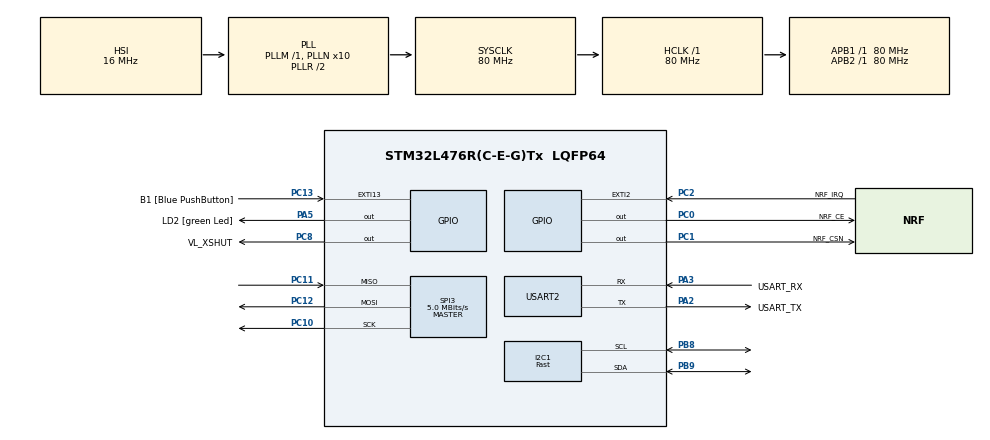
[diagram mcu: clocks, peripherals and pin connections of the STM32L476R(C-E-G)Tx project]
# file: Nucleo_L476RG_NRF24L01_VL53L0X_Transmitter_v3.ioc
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I2C1.I2C_Speed_Mode=I2C_Fast
I2C1.Timing=0x00702991
Mcu.Family=STM32L4
Mcu.Name=STM32L476R(C-E-G)Tx
Mcu.Package=LQFP64
NVIC.PriorityGroup=NVIC_PRIORITYGROUP_4
PA13\ (JTMS-SWDIO).GPIO_Label=TMS
PA13\ (JTMS-SWDIO).Mode=Serial_Wire
PA13\ (JTMS-SWDIO).Signal=SYS_JTMS-SWDIO
PA14\ (JTCK-SWCLK).GPIO_Label=TCK
PA14\ (JTCK-SWCLK).Mode=Serial_Wire
PA14\ (JTCK-SWCLK).Signal=SYS_JTCK-SWCLK
PA2.GPIO_Label=USART_TX
PA2.GPIO_Mode=GPIO_MODE_AF_PP
PA2.GPIO_PuPd=GPIO_NOPULL
PA2.GPIO_Speed=GPIO_SPEED_FREQ_VERY_HIGH
PA2.Mode=Asynchronous
PA2.Signal=USART2_TX
PA3.GPIO_Label=USART_RX
PA3.GPIO_Mode=GPIO_MODE_AF_PP
PA3.GPIO_PuPd=GPIO_NOPULL
PA3.GPIO_Speed=GPIO_SPEED_FREQ_VERY_HIGH
PA3.Mode=Asynchronous
PA3.Signal=USART2_RX
PA5.GPIO_Label=LD2 [green Led]
PA5.GPIO_ModeDefaultOutputPP=GPIO_MODE_OUTPUT_PP
PA5.GPIO_PuPd=GPIO_NOPULL
PA5.GPIO_Speed=GPIO_SPEED_FREQ_LOW
PA5.Signal=GPIO_Output
PB3\ (JTDO-TRACESWO).GPIO_Label=SWO
PB3\ (JTDO-TRACESWO).Signal=SYS_JTDO-SWO
PB8.Mode=I2C
PB8.Signal=I2C1_SCL
PB9.Mode=I2C
PB9.Signal=I2C1_SDA
PC0.GPIO_Label=NRF_CE
PC0.Signal=GPIO_Output
PC1.GPIO_Label=NRF_CSN
PC1.Signal=GPIO_Output
PC10.Mode=Full_Duplex_Master
PC10.Signal=SPI3_SCK
PC11.Mode=Full_Duplex_Master
PC11.Signal=SPI3_MISO
PC12.Mode=Full_Duplex_Master
PC12.Signal=SPI3_MOSI
PC13.GPIO_Label=B1 [Blue PushButton]
PC13.GPIO_ModeDefaultEXTI=GPIO_MODE_IT_FALLING
PC13.GPIO_PuPd=GPIO_NOPULL
PC13.Signal=GPXTI13
PC14-OSC32_IN\ (PC14).Mode=LSE-External-Oscillator
PC14-OSC32_IN\ (PC14).Signal=RCC_OSC32_IN
PC15-OSC32_OUT\ (PC15).Mode=LSE-External-Oscillator
PC15-OSC32_OUT\ (PC15).Signal=RCC_OSC32_OUT
PC2.GPIO_Label=NRF_IRQ
PC2.Signal=GPXTI2
PC8.GPIO_Label=VL_XSHUT
PC8.Signal=GPIO_Output
PH0-OSC_IN\ (PH0).Signal=RCC_OSC_IN
PH1-OSC_OUT\ (PH1).Signal=RCC_OSC_OUT
ProjectManager.HeapSize=0x200
ProjectManager.StackSize=0x400
ProjectManager.TargetToolchain=STM32CubeIDE
RCC.ADCFreq_Value=64000000
RCC.AHBFreq_Value=80000000
RCC.APB1Freq_Value=80000000
RCC.APB1TimFreq_Value=80000000
RCC.APB2Freq_Value=80000000
RCC.APB2TimFreq_Value=80000000
RCC.CortexFreq_Value=80000000
RCC.HCLKFreq_Value=80000000
RCC.HSE_VALUE=8000000
RCC.HSI_VALUE=16000000
RCC.MSI_VALUE=4000000
RCC.PLLN=10
RCC.PLLSourceVirtual=RCC_PLLSOURCE_HSI
RCC.PREFETCH_ENABLE=1
RCC.SYSCLKFreq_VALUE=80000000
RCC.SYSCLKSource=RCC_SYSCLKSOURCE_PLLCLK
RCC.USBFreq_Value=64000000
RCC.VCOOutputFreq_Value=160000000
SPI3.BaudRatePrescaler=SPI_BAUDRATEPRESCALER_16
SPI3.CalculateBaudRate=5.0 MBits/s
SPI3.DataSize=SPI_DATASIZE_8BIT
SPI3.Direction=SPI_DIRECTION_2LINES
SPI3.Mode=SPI_MODE_MASTER
SPI3.VirtualType=VM_MASTER
USART2.VirtualMode-Asynchronous=VM_ASYNC
board=NUCLEO-L476RG

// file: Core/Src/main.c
/* USER CODE BEGIN Header */
/**
  ******************************************************************************
  * @file           : main.c
  * @brief          : Main program body
  ******************************************************************************
  * @attention
  *
  * Copyright (c) 2022 STMicroelectronics.
  * All rights reserved.
  *
  * This software is licensed under terms that can be found in the LICENSE file
  * in the root directory of this software component.
  * If no LICENSE file comes with this software, it is provided AS-IS.
  *
  ******************************************************************************
  */
/* USER CODE END Header */
#include "main.h"

/* USER CODE BEGIN Includes */
#include "vl53l0x_class.h"
/* USER CODE END Includes */

I2C_HandleTypeDef hi2c1;

SPI_HandleTypeDef hspi3;

UART_HandleTypeDef huart2;

/* USER CODE BEGIN PV */
VL53L0X_Dev_t sensor1;
HAL_StatusTypeDef result;

// Uncomment ONE of these three lines to get
//#define LONG_RANGE
//#define HIGH_SPEED
#define HIGH_ACCURACY

/* USER CODE END PV */

void SystemClock_Config(void);
static void MX_GPIO_Init(void);
static void MX_SPI3_Init(void);
static void MX_USART2_UART_Init(void);
static void MX_I2C1_Init(void);
/* USER CODE BEGIN PFP */

void runRadio(void);
void VL53L0X_Start(VL53L0X_Dev_t *lidar);

/* USER CODE END PFP */

/* USER CODE BEGIN 0 */

/* round robin lowband fir filter */
#define NBSAMPLES 16

uint16_t rr_fir_filter0(uint16_t newsample) {
	static uint16_t samples[NBSAMPLES];
	static uint16_t numsample=0;
	static uint16_t slidingsum=0;
	slidingsum-= samples[numsample];
	samples[numsample]= newsample;
	slidingsum+= samples[numsample];
	numsample++;
	numsample%=NBSAMPLES;
	return slidingsum/NBSAMPLES;
}

uint16_t rr_fir_filter(uint8_t ch, uint16_t newsample) {
	if (ch>2) return 0;
	static uint16_t samples[2][NBSAMPLES]={0};
	static uint16_t numsample=0;
	static uint16_t slidingsum[2]={0};
	slidingsum[ch] -= samples[ch][numsample];
	samples[ch][numsample]= newsample;
	slidingsum[ch]+= samples[ch][numsample];
	numsample++;
	numsample%=NBSAMPLES;
	return slidingsum[ch]/NBSAMPLES;
}

// UART2 is connected to st-link
int _write(int file, char *ptr, int len)
{
	HAL_UART_Transmit(&huart2,(uint8_t *)ptr,len,10);
	return len;
}
/* USER CODE END 0 */

int main(void)
{

  /* MCU Configuration--------------------------------------------------------*/

  /* Reset of all peripherals, Initializes the Flash interface and the Systick. */
  HAL_Init();

  /* Configure the system clock */
  SystemClock_Config();

  /* Initialize all configured peripherals */
  MX_GPIO_Init();
  MX_SPI3_Init();
  MX_USART2_UART_Init();
  MX_I2C1_Init();
  /* USER CODE BEGIN 2 */

  printf("Start ...\r\n");
  VL53L0X_Start(&sensor1);

  if (HAL_SPIEx_FlushRxFifo(&hspi3) != HAL_OK){
	  Error_Handler();
  }
  runRadio();

  /* USER CODE END 2 */

  /* Infinite loop */
  while (1)
  {

  }
}

void SystemClock_Config(void)
{
  RCC_OscInitTypeDef RCC_OscInitStruct = {0};
  RCC_ClkInitTypeDef RCC_ClkInitStruct = {0};

  /** Configure the main internal regulator output voltage
  */
  if (HAL_PWREx_ControlVoltageScaling(PWR_REGULATOR_VOLTAGE_SCALE1) != HAL_OK)
  {
    Error_Handler();
  }
  /** Initializes the RCC Oscillators according to the specified parameters
  * in the RCC_OscInitTypeDef structure.
  */
  RCC_OscInitStruct.OscillatorType = RCC_OSCILLATORTYPE_HSI;
  RCC_OscInitStruct.HSIState = RCC_HSI_ON;
  RCC_OscInitStruct.HSICalibrationValue = RCC_HSICALIBRATION_DEFAULT;
  RCC_OscInitStruct.PLL.PLLState = RCC_PLL_ON;
  RCC_OscInitStruct.PLL.PLLSource = RCC_PLLSOURCE_HSI;
  RCC_OscInitStruct.PLL.PLLM = 1;
  RCC_OscInitStruct.PLL.PLLN = 10;
  RCC_OscInitStruct.PLL.PLLP = RCC_PLLP_DIV7;
  RCC_OscInitStruct.PLL.PLLQ = RCC_PLLQ_DIV2;
  RCC_OscInitStruct.PLL.PLLR = RCC_PLLR_DIV2;
  if (HAL_RCC_OscConfig(&RCC_OscInitStruct) != HAL_OK)
  {
    Error_Handler();
  }
  /** Initializes the CPU, AHB and APB buses clocks
  */
  RCC_ClkInitStruct.ClockType = RCC_CLOCKTYPE_HCLK|RCC_CLOCKTYPE_SYSCLK
                              |RCC_CLOCKTYPE_PCLK1|RCC_CLOCKTYPE_PCLK2;
  RCC_ClkInitStruct.SYSCLKSource = RCC_SYSCLKSOURCE_PLLCLK;
  RCC_ClkInitStruct.AHBCLKDivider = RCC_SYSCLK_DIV1;
  RCC_ClkInitStruct.APB1CLKDivider = RCC_HCLK_DIV1;
  RCC_ClkInitStruct.APB2CLKDivider = RCC_HCLK_DIV1;

  if (HAL_RCC_ClockConfig(&RCC_ClkInitStruct, FLASH_LATENCY_4) != HAL_OK)
  {
    Error_Handler();
  }
}

static void MX_I2C1_Init(void)
{

  hi2c1.Instance = I2C1;
  hi2c1.Init.Timing = 0x00702991;
  hi2c1.Init.OwnAddress1 = 0;
  hi2c1.Init.AddressingMode = I2C_ADDRESSINGMODE_7BIT;
  hi2c1.Init.DualAddressMode = I2C_DUALADDRESS_DISABLE;
  hi2c1.Init.OwnAddress2 = 0;
  hi2c1.Init.OwnAddress2Masks = I2C_OA2_NOMASK;
  hi2c1.Init.GeneralCallMode = I2C_GENERALCALL_DISABLE;
  hi2c1.Init.NoStretchMode = I2C_NOSTRETCH_DISABLE;
  if (HAL_I2C_Init(&hi2c1) != HAL_OK)
  {
    Error_Handler();
  }
  /** Configure Analogue filter
  */
  if (HAL_I2CEx_ConfigAnalogFilter(&hi2c1, I2C_ANALOGFILTER_ENABLE) != HAL_OK)
  {
    Error_Handler();
  }
  /** Configure Digital filter
  */
  if (HAL_I2CEx_ConfigDigitalFilter(&hi2c1, 0) != HAL_OK)
  {
    Error_Handler();
  }

}

static void MX_SPI3_Init(void)
{

  /* SPI3 parameter configuration*/
  hspi3.Instance = SPI3;
  hspi3.Init.Mode = SPI_MODE_MASTER;
  hspi3.Init.Direction = SPI_DIRECTION_2LINES;
  hspi3.Init.DataSize = SPI_DATASIZE_8BIT;
  hspi3.Init.CLKPolarity = SPI_POLARITY_LOW;
  hspi3.Init.CLKPhase = SPI_PHASE_1EDGE;
  hspi3.Init.NSS = SPI_NSS_SOFT;
  hspi3.Init.BaudRatePrescaler = SPI_BAUDRATEPRESCALER_16;
  hspi3.Init.FirstBit = SPI_FIRSTBIT_MSB;
  hspi3.Init.TIMode = SPI_TIMODE_DISABLE;
  hspi3.Init.CRCCalculation = SPI_CRCCALCULATION_DISABLE;
  hspi3.Init.CRCPolynomial = 7;
  hspi3.Init.CRCLength = SPI_CRC_LENGTH_DATASIZE;
  hspi3.Init.NSSPMode = SPI_NSS_PULSE_ENABLE;
  if (HAL_SPI_Init(&hspi3) != HAL_OK)
  {
    Error_Handler();
  }

}

static void MX_USART2_UART_Init(void)
{

  huart2.Instance = USART2;
  huart2.Init.BaudRate = 115200;
  huart2.Init.WordLength = UART_WORDLENGTH_8B;
  huart2.Init.StopBits = UART_STOPBITS_1;
  huart2.Init.Parity = UART_PARITY_NONE;
  huart2.Init.Mode = UART_MODE_TX_RX;
  huart2.Init.HwFlowCtl = UART_HWCONTROL_NONE;
  huart2.Init.OverSampling = UART_OVERSAMPLING_16;
  huart2.Init.OneBitSampling = UART_ONE_BIT_SAMPLE_DISABLE;
  huart2.AdvancedInit.AdvFeatureInit = UART_ADVFEATURE_NO_INIT;
  if (HAL_UART_Init(&huart2) != HAL_OK)
  {
    Error_Handler();
  }

}

static void MX_GPIO_Init(void)
{
  GPIO_InitTypeDef GPIO_InitStruct = {0};

  /* GPIO Ports Clock Enable */
  __HAL_RCC_GPIOC_CLK_ENABLE();
  __HAL_RCC_GPIOH_CLK_ENABLE();
  __HAL_RCC_GPIOA_CLK_ENABLE();
  __HAL_RCC_GPIOB_CLK_ENABLE();

  /*Configure GPIO pin Output Level */
  HAL_GPIO_WritePin(GPIOC, NRF_CE_Pin|NRF_CSN_Pin|VL_XSHUT_Pin, GPIO_PIN_RESET);

  /*Configure GPIO pin Output Level */
  HAL_GPIO_WritePin(LD2_GPIO_Port, LD2_Pin, GPIO_PIN_RESET);

  /*Configure GPIO pin : B1_Pin */
  GPIO_InitStruct.Pin = B1_Pin;
  GPIO_InitStruct.Mode = GPIO_MODE_IT_FALLING;
  GPIO_InitStruct.Pull = GPIO_NOPULL;
  HAL_GPIO_Init(B1_GPIO_Port, &GPIO_InitStruct);

  /*Configure GPIO pins : NRF_CE_Pin NRF_CSN_Pin VL_XSHUT_Pin */
  GPIO_InitStruct.Pin = NRF_CE_Pin|NRF_CSN_Pin|VL_XSHUT_Pin;
  GPIO_InitStruct.Mode = GPIO_MODE_OUTPUT_PP;
  GPIO_InitStruct.Pull = GPIO_NOPULL;
  GPIO_InitStruct.Speed = GPIO_SPEED_FREQ_LOW;
  HAL_GPIO_Init(GPIOC, &GPIO_InitStruct);

  /*Configure GPIO pin : NRF_IRQ_Pin */
  GPIO_InitStruct.Pin = NRF_IRQ_Pin;
  GPIO_InitStruct.Mode = GPIO_MODE_IT_RISING;
  GPIO_InitStruct.Pull = GPIO_NOPULL;
  HAL_GPIO_Init(NRF_IRQ_GPIO_Port, &GPIO_InitStruct);

  /*Configure GPIO pin : LD2_Pin */
  GPIO_InitStruct.Pin = LD2_Pin;
  GPIO_InitStruct.Mode = GPIO_MODE_OUTPUT_PP;
  GPIO_InitStruct.Pull = GPIO_NOPULL;
  GPIO_InitStruct.Speed = GPIO_SPEED_FREQ_LOW;
  HAL_GPIO_Init(LD2_GPIO_Port, &GPIO_InitStruct);

}

/* USER CODE BEGIN 4 */

/**
 * @brief  This function is executed in case of error occurrence.
 * @retval None
 */
void _Error_Handler(char *file, int line)
{
	/* USER CODE BEGIN Error_Handler_Debug */
	char msg[256];
	sprintf(msg,"%s,%d", file,line);
	/* User can add his own implementation to report the HAL error return state */
	while(1)
	{
	}
	/* USER CODE END Error_Handler_Debug */
}

void VL53L0X_Start(VL53L0X_Dev_t *lidar){
	lidar->I2cDevAddr=0x29; // ADDRESS_DEFAULT;
	lidar->comms_type=1;    // VL53L0X_COMMS_I2C
	lidar->comms_speed_khz=100;

	HAL_GPIO_WritePin(VL_XSHUT_GPIO_Port, VL_XSHUT_Pin, GPIO_PIN_RESET); //shut down the VL53L0X sensor.
	HAL_Delay(100); //100

	HAL_GPIO_WritePin(VL_XSHUT_GPIO_Port, VL_XSHUT_Pin, GPIO_PIN_SET); //start up the sensor.
	HAL_Delay(100);  //24

	if(!VL53L0X_InitSensor(lidar, VL53L0x_DEFAULT_DEVICE_ADDRESS)) //attempt to initialise it with the necessary settings for normal operation. Returns 0 if fail, 1 if success.
	{
		printf("Failed to initialize\r\n");
	}
	else
	{
		printf("Successfully initialized\r\n");
	}
}

/* USER CODE END 4 */

void Error_Handler(void)
{
  __disable_irq();
  while (1)
  {
  }
}
